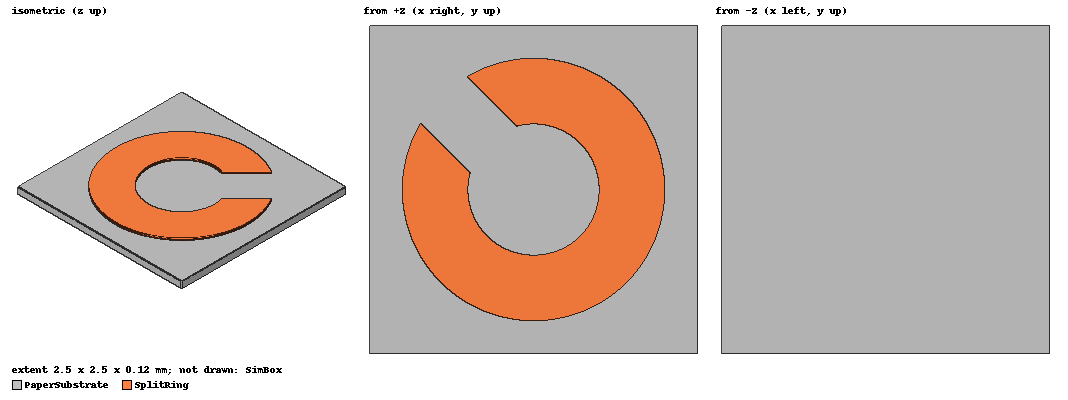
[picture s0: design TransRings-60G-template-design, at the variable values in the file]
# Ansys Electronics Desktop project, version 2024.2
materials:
  PVC plastic: permittivity=2.7 dielectric_loss_tangent=0.007
  Paper: permittivity=3.78 dielectric_loss_tangent=0.01
  aluminum: permeability=1.000021 conductivity=38000000
  vacuum: permittivity=1

design TransRings-60G-template-design (HFSS, HFSS Modal Network, model units mm)
options: Save_Adaptive_support_files
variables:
  L = llambda/2  # Surface element spaceing, ie, per element total size
  H = 0.1mm  # Thickness of the paper substrate paper
  llambda = 5mm  # Wavelength of the target operating frequency band, To ensure that we have at least half wavelength air space above the pattern to allow accurate FloquetPort simulation
  t_metal = 20um  # thickness of the metallic pattern printed
  R1 = 1mm  # Outter circle radius of the split ring pattern
  R2 = R1-Rw  # Inner circle radius
  G = 0.5mm  # Gap of the split ring opening
  G_angle = 45deg  # Rotation Angle of the split ring pattern, orientation of the C shaped opening
  Rw = 0.5mm  # Radius difference between the two circles of the split ring pattern, ie, width of the C shaped pattern
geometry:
  SimBox [vacuum] = box(corner=(0mm, 0mm, -llambda), size=(L, L, llambda * 3 +(h+t_metal)))
  coordinate_system RelativeCS1 = origin=(L/2, L/2, 0mm) x=(1mm, 0mm, 0mm) y=(0mm, 1mm, 0mm)
  PaperSubstrate [Paper] = box(corner=(0mm, 0mm, 0mm), size=(L, L, h))
  SplitRing [aluminum] = circle(normal=Z, centre=(L/2, L/2, h), radius=R1)
  SplitRing.thicken(t_metal)
  Circle2 = circle(normal=Z, centre=(L/2, L/2, h), radius=R2)
  Circle2.thicken(t_metal)
  SplitRing.subtract(Circle2)
  Rectangle26 = rectangle(corner=(L/2 -G/2, L/2, h), x_size=G, y_size=R1)
  Rectangle26.thicken(t_metal)
  Rectangle26.rotate(axis=Z, angle=G_angle) in RelativeCS1
  SplitRing.subtract(Rectangle26)
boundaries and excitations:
  Master1: Primary Faces=SimBox.face(-y) CoordSysVector{(0, 0, 1.8173063) -> (2.5, 0, 1.8173063)} ReverseV
  Master2: Primary Faces=SimBox.face(-x) CoordSysVector{(0, 0, 1.8173063) -> (0, 2.5, 1.8173063)}
  Slave1: Secondary Faces=SimBox.face(+y) CoordSysVector{(0, 2.5, 1.8173063) -> (2.5, 2.5, 1.8173063)} primary=Master1 PhaseDelay=UseScanAngle Phi=0 Theta=0
  Slave2: Secondary Faces=SimBox.face(+x) CoordSysVector{(2.5, 0, 1.8173063) -> (2.5, 2.5, 1.8173063)} ReverseV primary=Master2 PhaseDelay=UseScanAngle Phi=0 Theta=0
  FloquetPort1: Floquet Port Faces=SimBox.face(+z) NumModes=2 DeembedDist=llambda/2 Modes{Mode1{CharImp=Zpi} Mode2{CharImp=Zpi}} PhaseDelay=UseScanAngle Phi=0 Theta=0 LatticeAVector{(0, 0, 10.12) -> (2.5, 0, 10.12)} LatticeBVector{(0, 0, 10.12) -> (0, 2.5, 10.12)} ModesList{Mode{ModeNumber=1 IndexM=0 IndexN=0 KC2=0 PropagationState=Propagating Attenuation=0 PolarizationState=TE AffectsRefinement} Mode{ModeNumber=2 IndexM=0 IndexN=0 KC2=0 PropagationState=Propagating Attenuation=0 PolarizationState=TM AffectsRefinement}}
  FloquetPort2: Floquet Port Faces=SimBox.face(-z) NumModes=2 DeembedDist=llambda/2 Modes{Mode1{CharImp=Zpi} Mode2{CharImp=Zpi}} PhaseDelay=UseScanAngle Phi=0 Theta=0 LatticeAVector{(0, 0, -5) -> (2.5, 0, -5)} LatticeBVector{(0, 0, -5) -> (0, 2.5, -5)} ModesList{Mode{ModeNumber=1 IndexM=0 IndexN=0 KC2=0 PropagationState=Propagating Attenuation=0 PolarizationState=TE AffectsRefinement} Mode{ModeNumber=2 IndexM=0 IndexN=0 KC2=0 PropagationState=Propagating Attenuation=0 PolarizationState=TM AffectsRefinement}}
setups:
  Setup1: HfssDriven Frequency=80GHz MaxDeltaS=0.001 MaximumPasses=10 MinimumPasses=1 MinimumConvergedPasses=1 PercentRefinement=30 BasisOrder=1 PortAccuracy=2 DrivenSolverType="Direct Solver"
    sweep Sweep: 40GHz to 80GHz, 401 points; Type=Interpolating InterpTolerance=0.5 InterpMaxSolns=250 InterpUsePortImped=false PassivityErrorTolerance=0.0001
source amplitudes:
  FloquetPort1:1: 1W 0deg
  FloquetPort1:2, FloquetPort2:1, FloquetPort2:2: 0W 0deg
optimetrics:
  param_sweep: Parametric Sim._Setups=[Setup1]
    sweep R1: LIN 1mm 1.2mm 0.2mm
    sweep G_angle: LIN 45deg 135deg 90deg
    sweep Rw: LIN 0.25mm 0.5mm 0.25mm
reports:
  S Parameter Plot 1: dB(S(FloquetPort2:1,FloquetPort1:2)) vs Freq on Setup1 : Sweep [R1=1mm,1.2mm G_angle=all Rw=0.25mm,0.5mm]; markers MX1 at x=5.97134e+10
  S Parameter Plot 2: ang_deg(S(FloquetPort2:1,FloquetPort1:2)) vs Freq on Setup1 : Sweep [R1=1mm,1.2mm G_angle=all Rw=all]; markers MX1 at x=6.0422961e+10
